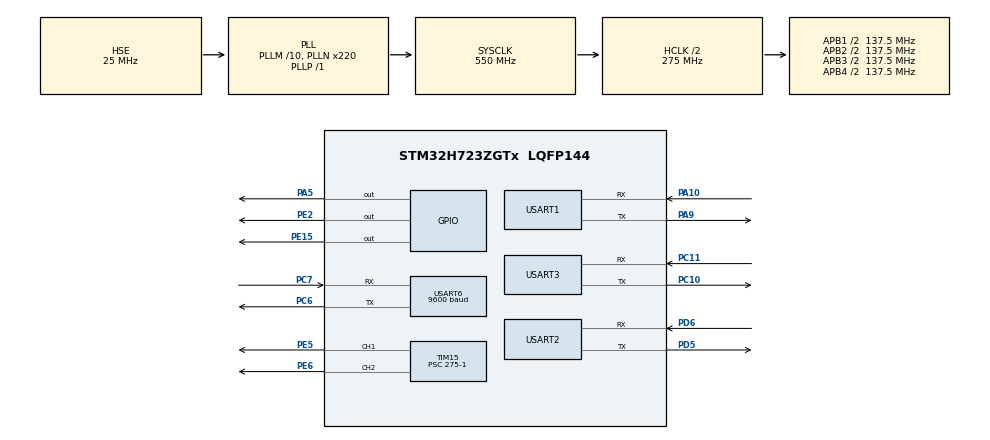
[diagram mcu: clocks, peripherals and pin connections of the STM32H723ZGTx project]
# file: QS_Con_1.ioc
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CORTEX_M7.default_mode_Activation=1
Mcu.Family=STM32H7
Mcu.Name=STM32H723ZGTx
Mcu.Package=LQFP144
NVIC.PriorityGroup=NVIC_PRIORITYGROUP_4
NVIC.USART2_IRQn=true\:0\:0\:false\:false\:true\:true\:true\:true
NVIC.USART3_IRQn=true\:0\:0\:false\:false\:true\:true\:true\:true
NVIC.USART6_IRQn=true\:0\:0\:false\:false\:true\:true\:true\:true
PA10.Mode=Asynchronous
PA10.Signal=USART1_RX
PA5.GPIO_Speed=GPIO_SPEED_FREQ_HIGH
PA5.Signal=GPIO_Output
PA9.Mode=Asynchronous
PA9.Signal=USART1_TX
PC10.Mode=Asynchronous
PC10.Signal=USART3_TX
PC11.Mode=Asynchronous
PC11.Signal=USART3_RX
PC14-OSC32_IN.Mode=LSE-External-Oscillator
PC14-OSC32_IN.Signal=RCC_OSC32_IN
PC15-OSC32_OUT.Mode=LSE-External-Oscillator
PC15-OSC32_OUT.Signal=RCC_OSC32_OUT
PC6.Mode=Asynchronous
PC6.Signal=USART6_TX
PC7.Mode=Asynchronous
PC7.Signal=USART6_RX
PD5.Mode=Asynchronous
PD5.Signal=USART2_TX
PD6.Mode=Asynchronous
PD6.Signal=USART2_RX
PE15.Signal=GPIO_Output
PE2.PinState=GPIO_PIN_SET
PE2.Signal=GPIO_Output
PE5.Signal=S_TIM15_CH1
PE6.Signal=S_TIM15_CH2
PH0-OSC_IN.Mode=HSE-External-Oscillator
PH0-OSC_IN.Signal=RCC_OSC_IN
PH1-OSC_OUT.Mode=HSE-External-Oscillator
PH1-OSC_OUT.Signal=RCC_OSC_OUT
ProjectManager.HeapSize=0x200
ProjectManager.StackSize=0x400
ProjectManager.TargetToolchain=MDK-ARM V5
RCC.ADCFreq_Value=50390625
RCC.APB1Freq_Value=137500000
RCC.APB2Freq_Value=137500000
RCC.APB3Freq_Value=137500000
RCC.APB4Freq_Value=137500000
RCC.CortexFreq_Value=550000000
RCC.D1PPRE=RCC_APB3_DIV2
RCC.D2PPRE1=RCC_APB1_DIV2
RCC.D2PPRE2=RCC_APB2_DIV2
RCC.D3PPRE=RCC_APB4_DIV2
RCC.DIVM1=10
RCC.DIVN1=220
RCC.DIVP1=1
RCC.HCLKFreq_Value=275000000
RCC.HPRE=RCC_HCLK_DIV2
RCC.PLLSourceVirtual=RCC_PLLSOURCE_HSE
RCC.SYSCLKFreq_VALUE=550000000
RCC.SYSCLKSource=RCC_SYSCLKSOURCE_PLLCLK
RCC.USBFreq_Value=275000000
SH.S_TIM15_CH1.0=TIM15_CH1,PWM Generation1 CH1
SH.S_TIM15_CH2.0=TIM15_CH2,PWM Generation2 CH2
TIM1.Prescaler=275-1
TIM15.Channel-PWM\ Generation1\ CH1=TIM_CHANNEL_1
TIM15.Channel-PWM\ Generation2\ CH2=TIM_CHANNEL_2
TIM15.Period=20000-1
TIM15.Prescaler=275-1
TIM15.Pulse-PWM\ Generation1\ CH1=1500
TIM15.Pulse-PWM\ Generation2\ CH2=1500
USART1.VirtualMode-Asynchronous=VM_ASYNC
USART2.VirtualMode-Asynchronous=VM_ASYNC
USART3.VirtualMode-Asynchronous=VM_ASYNC
USART6.BaudRate=9600
USART6.VirtualMode-Asynchronous=VM_ASYNC
VP_TIM15_VS_ClockSourceINT.Mode=Internal
VP_TIM1_VS_ClockSourceINT.Mode=Internal
board=custom

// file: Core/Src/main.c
/* USER CODE BEGIN Header */
/**
  ******************************************************************************
  * @file           : main.c
  * @brief          : Main program body
  ******************************************************************************
  * @attention
  *
  * Copyright (c) 2025 STMicroelectronics.
  * All rights reserved.
  *
  * This software is licensed under terms that can be found in the LICENSE file
  * in the root directory of this software component.
  * If no LICENSE file comes with this software, it is provided AS-IS.
  *
  ******************************************************************************
  */
/* USER CODE END Header */
#include "main.h"
#include "tim.h"
#include "usart.h"
#include "gpio.h"

/* USER CODE BEGIN Includes */
#include "Servo.h"
#include "Pump.h"
#include <stdio.h>
#include "PID.h"
#include "DHT11.h"
#include "MQTT.h"
/* USER CODE END Includes */

/* USER CODE BEGIN PV */

	uint16_t current_compare_1D=1500;
	uint16_t current_compare_2D=1500;
	uint8_t rxByte;
	uint8_t Direction;

	uint8_t rx6;
  uint8_t frame6[9]={0};
  uint8_t frame6_idx = 0;

	uint8_t Pump;

	uint8_t rx3[5];
	uint8_t tag=0;
	uint8_t tag_1=0;
	uint8_t tag_2=0;
	uint8_t count=0;
	uint16_t count_1=0;

  static uint8_t flame_x = 60, flame_y = 84;

	extern uint8_t Data[5];

	char x[2]="x";
  char password[9]="12121212";
  char client_id[33]="43efe7b7661db39ee9d4b73038261ed4";
  char a[1];
  char topic1[12]= "Temperature";
  char Temperature[3];
  char topic2[9]= "Humidity";
  char Humidity[3];

/* USER CODE END PV */

void SystemClock_Config(void);
static void MPU_Config(void);

int main(void)
{

  /* MPU Configuration--------------------------------------------------------*/
  MPU_Config();

  /* MCU Configuration--------------------------------------------------------*/

  /* Reset of all peripherals, Initializes the Flash interface and the Systick. */
  HAL_Init();

  /* Configure the system clock */
  SystemClock_Config();

  /* Initialize all configured peripherals */
  MX_GPIO_Init();
  MX_TIM15_Init();
  MX_USART2_UART_Init();
  MX_USART6_UART_Init();
  MX_USART3_UART_Init();
  MX_TIM1_Init();
  MX_USART1_UART_Init();
  /* USER CODE BEGIN 2 */

	Servo_Start();

	MQTT_Init(x, password, client_id);

	HAL_UART_Receive_IT(&huart2, &rxByte, 1);

	HAL_UART_Receive_IT(&huart6, &rx6, 1);

  HAL_UART_Receive_IT(&huart3, rx3, 4);

  /* USER CODE END 2 */

  /* Infinite loop */
  while (1)
  {

    /* USER CODE BEGIN 3 */

		if(frame6[7]==0x33)
		{
			current_compare_1D=1500;
			current_compare_2D=1500;
			Servo_Compare(current_compare_1D,current_compare_2D);
		}
		else if(frame6[7]==0x22)
		{
			if(Direction==0x01){
			  Servo_turn_left(&current_compare_1D);
			  HAL_Delay(100);
		  }
		  else if(Direction==0x02){
			  Servo_turn_right(&current_compare_1D);
		  	HAL_Delay(100);
		  }
		  else if(Direction==0x03){
			  Servo_turn_up(&current_compare_2D);
			  HAL_Delay(100);
		  }
		  else if(Direction==0x04){
			  Servo_turn_down(&current_compare_2D);
			  HAL_Delay(100);
		  }

		  if(Pump==0x06){
			  Pump_ON();
		  }
		  else if(Pump==0x07){
			  Pump_Off();
		  }
		}
		else if(frame6[7]==0x11)
			{
				if(tag==1)
				{
					PID_1D(flame_x,&current_compare_1D);
					PID_2D(flame_y,&current_compare_2D);
					tag=0;
					HAL_Delay(30);
				}
				else if(tag==0)
				{
					count++;
					if(count>15)
					{
						Pump_Off();
						count=0;
					}

					if(current_compare_1D>=1860)
					{
						tag_1=0;
					}
					else if(current_compare_1D<=1140)
					{
						tag_1=1;
					}

					if(tag_1==0)
					{
						Servo_turn_right(&current_compare_1D);
		  	    HAL_Delay(60);
					}
					else if(tag_1==1)
					{
						Servo_turn_left(&current_compare_1D);
			      HAL_Delay(60);
					}

					if(current_compare_2D>=1530)
					{
						tag_2=0;
					}
					else if(current_compare_2D<=1270)
					{
						tag_2=1;
					}

					if(tag_2==0)
					{
						Servo_turn_down(&current_compare_2D);
		  	    HAL_Delay(50);
					}
					else if(tag_2==1)
					{
						Servo_turn_up(&current_compare_2D);
			      HAL_Delay(50);
					}

				}
			}
		else if(frame6[7]==0x88)
		{

			if(DHT_Read())
			{
				uint8_t humidity = Data[0];
				uint8_t temperature = Data[2];

				char cmd[50];
				snprintf(cmd, sizeof(cmd), "page2.n1.val=%d%c%c%c", Data[2], 0xFF, 0xFF, 0xFF);
				HAL_UART_Transmit(&huart6, (uint8_t*)cmd, strlen(cmd), HAL_MAX_DELAY);

				snprintf(cmd, sizeof(cmd), "page2.n0.val=%d%c%c%c", Data[0], 0xFF, 0xFF, 0xFF);
				HAL_UART_Transmit(&huart6, (uint8_t*)cmd, strlen(cmd), HAL_MAX_DELAY);

				if(Data[2]>65)
				{
					count_1++;
					if(count_1>=6)
					{
						HAL_GPIO_WritePin(GPIOE, GPIO_PIN_2, GPIO_PIN_SET);
						count_1=8;
					}
					else
					{
						HAL_GPIO_WritePin(GPIOE, GPIO_PIN_2, GPIO_PIN_RESET);
					}
				}
				else
				{
					HAL_GPIO_WritePin(GPIOE, GPIO_PIN_2, GPIO_PIN_SET);
		      count_1=0;
				}

				uint32_t now = HAL_GetTick();

				snprintf(Temperature, sizeof(Temperature), "%d", Data[2]);
        MQTT_update(topic1, Temperature);

				snprintf(Humidity, sizeof(Humidity), "%d", Data[0]);
        MQTT_update(topic2, Humidity);
			}
		}

  }
  /* USER CODE END 3 */
}

void SystemClock_Config(void)
{
  RCC_OscInitTypeDef RCC_OscInitStruct = {0};
  RCC_ClkInitTypeDef RCC_ClkInitStruct = {0};

  /** Supply configuration update enable
  */
  HAL_PWREx_ConfigSupply(PWR_LDO_SUPPLY);

  /** Configure the main internal regulator output voltage
  */
  __HAL_PWR_VOLTAGESCALING_CONFIG(PWR_REGULATOR_VOLTAGE_SCALE0);

  while(!__HAL_PWR_GET_FLAG(PWR_FLAG_VOSRDY)) {}

  /** Initializes the RCC Oscillators according to the specified parameters
  * in the RCC_OscInitTypeDef structure.
  */
  RCC_OscInitStruct.OscillatorType = RCC_OSCILLATORTYPE_HSE;
  RCC_OscInitStruct.HSEState = RCC_HSE_ON;
  RCC_OscInitStruct.PLL.PLLState = RCC_PLL_ON;
  RCC_OscInitStruct.PLL.PLLSource = RCC_PLLSOURCE_HSE;
  RCC_OscInitStruct.PLL.PLLM = 10;
  RCC_OscInitStruct.PLL.PLLN = 220;
  RCC_OscInitStruct.PLL.PLLP = 1;
  RCC_OscInitStruct.PLL.PLLQ = 2;
  RCC_OscInitStruct.PLL.PLLR = 2;
  RCC_OscInitStruct.PLL.PLLRGE = RCC_PLL1VCIRANGE_1;
  RCC_OscInitStruct.PLL.PLLVCOSEL = RCC_PLL1VCOWIDE;
  RCC_OscInitStruct.PLL.PLLFRACN = 0;
  if (HAL_RCC_OscConfig(&RCC_OscInitStruct) != HAL_OK)
  {
    Error_Handler();
  }

  /** Initializes the CPU, AHB and APB buses clocks
  */
  RCC_ClkInitStruct.ClockType = RCC_CLOCKTYPE_HCLK|RCC_CLOCKTYPE_SYSCLK
                              |RCC_CLOCKTYPE_PCLK1|RCC_CLOCKTYPE_PCLK2
                              |RCC_CLOCKTYPE_D3PCLK1|RCC_CLOCKTYPE_D1PCLK1;
  RCC_ClkInitStruct.SYSCLKSource = RCC_SYSCLKSOURCE_PLLCLK;
  RCC_ClkInitStruct.SYSCLKDivider = RCC_SYSCLK_DIV1;
  RCC_ClkInitStruct.AHBCLKDivider = RCC_HCLK_DIV2;
  RCC_ClkInitStruct.APB3CLKDivider = RCC_APB3_DIV2;
  RCC_ClkInitStruct.APB1CLKDivider = RCC_APB1_DIV2;
  RCC_ClkInitStruct.APB2CLKDivider = RCC_APB2_DIV2;
  RCC_ClkInitStruct.APB4CLKDivider = RCC_APB4_DIV2;

  if (HAL_RCC_ClockConfig(&RCC_ClkInitStruct, FLASH_LATENCY_3) != HAL_OK)
  {
    Error_Handler();
  }
}

/* USER CODE BEGIN 4 */
void HAL_UART_RxCpltCallback(UART_HandleTypeDef *huart)
{
    if (huart->Instance == USART2)
    {
        if (rxByte == 0x01) {
          Direction=rxByte;
					HAL_UART_Receive_IT(&huart2, &rxByte, 1);
				}
				else if (rxByte == 0x02) {
          Direction=rxByte;
					HAL_UART_Receive_IT(&huart2, &rxByte, 1);
				}
				else if (rxByte == 0x03) {
          Direction=rxByte;
					HAL_UART_Receive_IT(&huart2, &rxByte, 1);
				}
				else if (rxByte == 0x04) {
          Direction=rxByte;
					HAL_UART_Receive_IT(&huart2, &rxByte, 1);
				}
				else if (rxByte == 0x00) {
          Direction=rxByte;
					HAL_UART_Receive_IT(&huart2, &rxByte, 1);
				}
				else if (rxByte == 0x06) {
          Pump=rxByte;
					HAL_UART_Receive_IT(&huart2, &rxByte, 1);
				}
				else if (rxByte == 0x07) {
          Pump=rxByte;
					HAL_UART_Receive_IT(&huart2, &rxByte, 1);
				}
    }

		 else if (huart->Instance == USART6)
     {
			frame6[frame6_idx++] = rx6;
      if (frame6_idx == 9){
        frame6_idx = 0;
      }
      HAL_UART_Receive_IT(&huart6, &rx6, 1);
		 }

		 else if (huart->Instance == USART3)
    {
      if(rx3[0]==0x3c)
			{
				if(rx3 [1]==0x3b)
				{
            flame_x=rx3[2];
            flame_y=rx3[3];
						tag=1;
				}
			}
       HAL_UART_Receive_IT(&huart3, rx3, 4);
    }
}

/* USER CODE END 4 */

 /* MPU Configuration */

void MPU_Config(void)
{
  MPU_Region_InitTypeDef MPU_InitStruct = {0};

  /* Disables the MPU */
  HAL_MPU_Disable();

  /** Initializes and configures the Region and the memory to be protected
  */
  MPU_InitStruct.Enable = MPU_REGION_ENABLE;
  MPU_InitStruct.Number = MPU_REGION_NUMBER0;
  MPU_InitStruct.BaseAddress = 0x0;
  MPU_InitStruct.Size = MPU_REGION_SIZE_4GB;
  MPU_InitStruct.SubRegionDisable = 0x87;
  MPU_InitStruct.TypeExtField = MPU_TEX_LEVEL0;
  MPU_InitStruct.AccessPermission = MPU_REGION_NO_ACCESS;
  MPU_InitStruct.DisableExec = MPU_INSTRUCTION_ACCESS_DISABLE;
  MPU_InitStruct.IsShareable = MPU_ACCESS_SHAREABLE;
  MPU_InitStruct.IsCacheable = MPU_ACCESS_NOT_CACHEABLE;
  MPU_InitStruct.IsBufferable = MPU_ACCESS_NOT_BUFFERABLE;

  HAL_MPU_ConfigRegion(&MPU_InitStruct);
  /* Enables the MPU */
  HAL_MPU_Enable(MPU_PRIVILEGED_DEFAULT);

}

void Error_Handler(void)
{
  __disable_irq();
  while (1)
  {
  }
}
